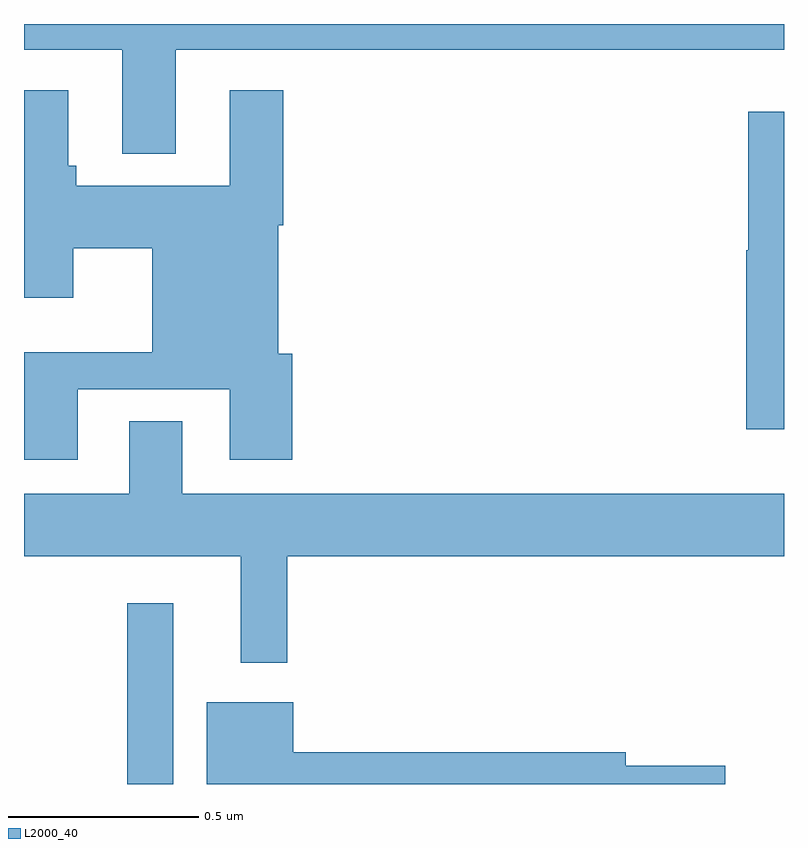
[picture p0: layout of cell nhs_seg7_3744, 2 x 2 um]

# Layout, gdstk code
import gdstk
lib = gdstk.Library(unit=1e-6, precision=1e-09)
def R(c, l, rs):  # rectangles x0, y0, x1, y1
    for r in rs: c.add(gdstk.rectangle(r[:2], r[2:], *l))
def P(c, l, *ps):  # polygons
    for p in ps: c.add(gdstk.Polygon(p, *l))
L2000_40 = (2000, 40)

nhs_seg7_3744 = lib.new_cell('nhs_seg7_3744')
R(nhs_seg7_3744, L2000_40, [(163.272,1016,163.393,1016.476)])
P(nhs_seg7_3744, L2000_40, [(163.399,1017.932),(165,1017.932),(165,1018),(163,1018),(163,1017.932),(163.259,1017.932),(163.259,1017.659),(163.399,1017.659)],
  [(163.141,1017.039),(163.541,1017.039),(163.541,1016.853),(163.706,1016.853),(163.706,1017.132),(163.669,1017.132),(163.669,1017.47),(163.682,1017.47),(163.682,1017.826),(163.541,1017.826),(163.541,1017.574),(163.137,1017.574),(163.137,1017.627),(163.117,1017.627),(163.117,1017.826),(163,1017.826),(163,1017.279),(163.129,1017.279),(163.129,1017.41),(163.337,1017.41),(163.337,1017.136),(163,1017.136),(163,1017.039),(163.001,1017.039),(163.001,1016.853),(163.141,1016.853)],
  [(165,1017.769),(164.906,1017.769),(164.906,1017.405),(164.9,1017.405),(164.9,1016.934),(165,1016.934)],
  [(163.693,1016.6),(165,1016.6),(165,1016.764),(163.417,1016.764),(163.417,1016.954),(163.277,1016.954),(163.277,1016.764),(163,1016.764),(163,1016.6),(163.571,1016.6),(163.571,1016.319),(163.693,1016.319)],
  [(164.845,1016.048),(164.584,1016.048),(164.584,1016.084),(163.708,1016.084),(163.708,1016.215),(163.481,1016.215),(163.481,1016),(164.845,1016)])

lib.write_gds('nhs_seg7_3744.gds')
